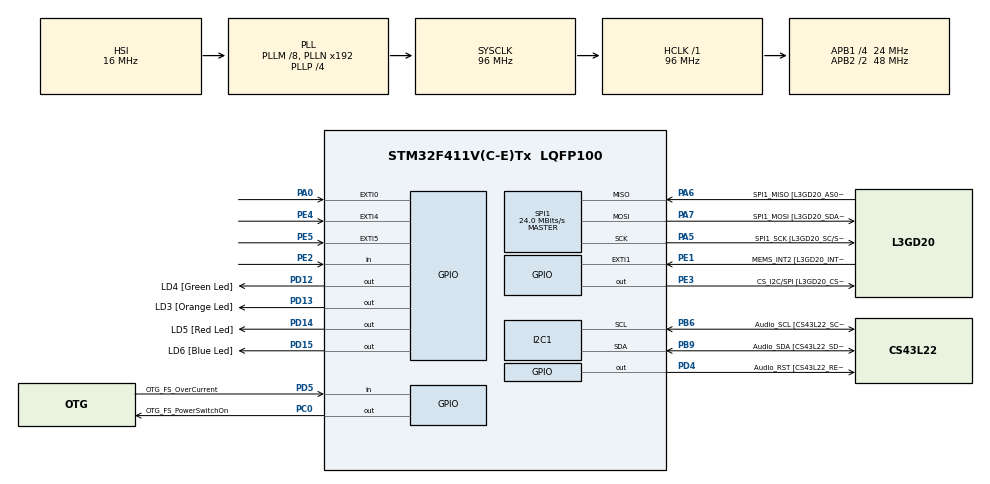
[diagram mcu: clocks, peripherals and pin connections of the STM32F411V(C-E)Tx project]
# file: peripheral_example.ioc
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Mcu.Family=STM32F4
Mcu.Name=STM32F411V(C-E)Tx
Mcu.Package=LQFP100
NVIC.PriorityGroup=NVIC_PRIORITYGROUP_0
PA0-WKUP.GPIO_ModeDefaultEXTI=GPIO_MODE_EVT_RISING
PA0-WKUP.Signal=GPXTI0
PA10.GPIO_Label=OTG_FS_ID
PA10.Signal=USB_OTG_FS_ID
PA11.GPIO_Label=OTG_FS_DM
PA11.Signal=USB_OTG_FS_DM
PA12.GPIO_Label=OTG_FS_DP
PA12.Signal=USB_OTG_FS_DP
PA13.GPIO_Label=SWDIO
PA13.Signal=SYS_JTMS-SWDIO
PA14.GPIO_Label=SWCLK
PA14.Signal=SYS_JTCK-SWCLK
PA4.GPIO_Label=I2S3_WS [CS43L22_LRCK]
PA4.GPIO_Mode=GPIO_MODE_AF_PP
PA4.GPIO_PuPd=GPIO_NOPULL
PA4.GPIO_Speed=GPIO_SPEED_FREQ_LOW
PA4.Signal=I2S3_WS
PA5.GPIO_Label=SPI1_SCK [L3GD20_SC/SPC]
PA5.Mode=Full_Duplex_Master
PA5.Signal=SPI1_SCK
PA6.GPIO_Label=SPI1_MISO [L3GD20_AS0/SDO]
PA6.Mode=Full_Duplex_Master
PA6.Signal=SPI1_MISO
PA7.GPIO_Label=SPI1_MOSI [L3GD20_SDA/SDI/SDO]
PA7.Mode=Full_Duplex_Master
PA7.Signal=SPI1_MOSI
PA9.GPIO_Label=VBUS_FS
PA9.Signal=USB_OTG_FS_VBUS
PB10.GPIO_Label=CLK_IN [MP45DT02_CLK]
PB10.Signal=I2S2_CK
PB12.Signal=I2S2_WS
PB3.GPIO_Label=SWO
PB3.Signal=SYS_JTDO-SWO
PB6.GPIO_Label=Audio_SCL [CS43L22_SCL]
PB6.GPIO_Mode=GPIO_MODE_AF_OD
PB6.GPIO_PuPd=GPIO_NOPULL
PB6.GPIO_Speed=GPIO_SPEED_FREQ_LOW
PB6.Mode=I2C
PB6.Signal=I2C1_SCL
PB9.GPIO_Label=Audio_SDA [CS43L22_SDA]
PB9.GPIO_Mode=GPIO_MODE_AF_OD
PB9.GPIO_PuPd=GPIO_NOPULL
PB9.GPIO_Speed=GPIO_SPEED_FREQ_LOW
PB9.Mode=I2C
PB9.Signal=I2C1_SDA
PC0.GPIO_Label=OTG_FS_PowerSwitchOn
PC0.PinState=GPIO_PIN_SET
PC0.Signal=GPIO_Output
PC10.GPIO_Label=I2S3_SCK [CS43L22_SCLK]
PC10.GPIO_Mode=GPIO_MODE_AF_PP
PC10.GPIO_PuPd=GPIO_NOPULL
PC10.GPIO_Speed=GPIO_SPEED_FREQ_LOW
PC10.Signal=I2S3_CK
PC12.GPIO_Label=I2S3_SD [CS43L22_SDIN]
PC12.GPIO_Mode=GPIO_MODE_AF_PP
PC12.GPIO_PuPd=GPIO_NOPULL
PC12.GPIO_Speed=GPIO_SPEED_FREQ_LOW
PC12.Signal=I2S3_SD
PC14-OSC32_IN.GPIO_Label=PC14-OSC32_IN
PC14-OSC32_IN.Signal=RCC_OSC32_IN
PC15-OSC32_OUT.GPIO_Label=PC15-OSC32_OUT
PC15-OSC32_OUT.Signal=RCC_OSC32_OUT
PC3.GPIO_Label=PDM_OUT [MP45DT02_DOUT]
PC3.Signal=I2S2_SD
PC7.GPIO_Label=I2S3_MCK [CS43L22_MCLK]
PC7.GPIO_Mode=GPIO_MODE_AF_PP
PC7.GPIO_PuPd=GPIO_NOPULL
PC7.GPIO_Speed=GPIO_SPEED_FREQ_LOW
PC7.Signal=I2S3_MCK
PD12.GPIO_Label=LD4 [Green Led]
PD12.GPIO_PuPd=GPIO_NOPULL
PD12.GPIO_Speed=GPIO_SPEED_FREQ_LOW
PD12.Signal=GPIO_Output
PD13.GPIO_Label=LD3 [Orange Led]
PD13.GPIO_PuPd=GPIO_NOPULL
PD13.GPIO_Speed=GPIO_SPEED_FREQ_LOW
PD13.Signal=GPIO_Output
PD14.GPIO_Label=LD5 [Red Led]
PD14.GPIO_PuPd=GPIO_NOPULL
PD14.GPIO_Speed=GPIO_SPEED_FREQ_LOW
PD14.Signal=GPIO_Output
PD15.GPIO_Label=LD6 [Blue Led]
PD15.GPIO_PuPd=GPIO_NOPULL
PD15.GPIO_Speed=GPIO_SPEED_FREQ_LOW
PD15.Signal=GPIO_Output
PD4.GPIO_Label=Audio_RST [CS43L22_RESET]
PD4.Signal=GPIO_Output
PD5.GPIO_Label=OTG_FS_OverCurrent
PD5.Signal=GPIO_Input
PE1.GPIO_Label=MEMS_INT2 [L3GD20_INT2]
PE1.GPIO_ModeDefaultEXTI=GPIO_MODE_EVT_RISING
PE1.Signal=GPXTI1
PE2.Signal=GPIO_Input
PE3.GPIO_Label=CS_I2C/SPI [L3GD20_CS_I2C/SPI]
PE3.Signal=GPIO_Output
PE4.GPIO_ModeDefaultEXTI=GPIO_MODE_EVT_RISING
PE4.Signal=GPXTI4
PE5.GPIO_ModeDefaultEXTI=GPIO_MODE_EVT_RISING
PE5.Signal=GPXTI5
PH0\ -\ OSC_IN.GPIO_Label=PH0-OSC_IN
PH0\ -\ OSC_IN.Signal=RCC_OSC_IN
PH1\ -\ OSC_OUT.GPIO_Label=PH1-OSC_OUT
PH1\ -\ OSC_OUT.Signal=RCC_OSC_OUT
ProjectManager.HeapSize=0x200
ProjectManager.StackSize=0x400
ProjectManager.TargetToolchain=STM32CubeIDE
RCC.48MHZClocksFreq_Value=48000000
RCC.AHBFreq_Value=96000000
RCC.APB1CLKDivider=RCC_HCLK_DIV4
RCC.APB1Freq_Value=24000000
RCC.APB1TimFreq_Value=48000000
RCC.APB2CLKDivider=RCC_HCLK_DIV2
RCC.APB2Freq_Value=48000000
RCC.APB2TimFreq_Value=96000000
RCC.CortexFreq_Value=96000000
RCC.HCLKFreq_Value=96000000
RCC.HSE_VALUE=8000000
RCC.HSI_VALUE=16000000
RCC.LSE_VALUE=32768
RCC.PLLI2SM=5
RCC.PLLI2SN=200
RCC.PLLM=8
RCC.PLLP=RCC_PLLP_DIV4
RCC.PLLQ=8
RCC.SYSCLKFreq_VALUE=96000000
RCC.SYSCLKSource=RCC_SYSCLKSOURCE_PLLCLK
RCC.VCOOutputFreq_Value=384000000
SPI1.CalculateBaudRate=24.0 MBits/s
SPI1.Direction=SPI_DIRECTION_2LINES
SPI1.Mode=SPI_MODE_MASTER
SPI1.VirtualType=VM_MASTER
board=STM32F411E-DISCO

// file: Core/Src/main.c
/* USER CODE BEGIN Header */
/**
  ******************************************************************************
  * @file           : main.c
  * @brief          : Main program body
  ******************************************************************************
  * @attention
  *
  * Copyright (c) 2022 STMicroelectronics.
  * All rights reserved.
  *
  * This software is licensed under terms that can be found in the LICENSE file
  * in the root directory of this software component.
  * If no LICENSE file comes with this software, it is provided AS-IS.
  *
  ******************************************************************************
  */
/* USER CODE END Header */
#include "main.h"

I2C_HandleTypeDef hi2c1;

SPI_HandleTypeDef hspi1;

void SystemClock_Config(void);
static void MX_GPIO_Init(void);
static void MX_I2C1_Init(void);
static void MX_SPI1_Init(void);

/* USER CODE BEGIN 0 */
void SPI1WriteByte(uint8_t reg, uint8_t data);
uint8_t SPI1ReadByte(uint8_t reg);

void I2C1WriteByte(uint16_t address, uint8_t reg, uint8_t data);
uint8_t I2C1ReadByte(uint16_t address, uint8_t reg);

void CS43L22_Init();
/* USER CODE END 0 */

int main(void)
{

  /* MCU Configuration--------------------------------------------------------*/

  /* Reset of all peripherals, Initializes the Flash interface and the Systick. */
  HAL_Init();

  /* Configure the system clock */
  SystemClock_Config();

  /* Initialize all configured peripherals */
  MX_GPIO_Init();
  MX_I2C1_Init();
  MX_SPI1_Init();
  /* USER CODE BEGIN 2 */
  SPI1WriteByte(0x20, 0x0F);
  uint8_t l3gd20_whoAmI = SPI1ReadByte(0x8F);
  if (l3gd20_whoAmI == 0xD3)
  {
	  HAL_GPIO_WritePin(GPIOD, LD3_Pin, GPIO_PIN_SET);
  }

  uint8_t lsm303dlch_id = I2C1ReadByte(0x32, 0x0F);
  if (lsm303dlch_id == 0x33)
  {
	  HAL_GPIO_WritePin(GPIOD, LD4_Pin, GPIO_PIN_SET);
  }

  CS43L22_Init();
  uint8_t cs43l22_id = I2C1ReadByte(0x94, 0x01);
  if ((cs43l22_id & 0xF8) == 0xE0)
  {
	  HAL_GPIO_WritePin(GPIOD, LD6_Pin, GPIO_PIN_SET);
  }

  /* USER CODE END 2 */

  /* Infinite loop */
  while (1)
  {

  }
}

void SystemClock_Config(void)
{
  RCC_OscInitTypeDef RCC_OscInitStruct = {0};
  RCC_ClkInitTypeDef RCC_ClkInitStruct = {0};

  /** Configure the main internal regulator output voltage
  */
  __HAL_RCC_PWR_CLK_ENABLE();
  __HAL_PWR_VOLTAGESCALING_CONFIG(PWR_REGULATOR_VOLTAGE_SCALE1);
  /** Initializes the RCC Oscillators according to the specified parameters
  * in the RCC_OscInitTypeDef structure.
  */
  RCC_OscInitStruct.OscillatorType = RCC_OSCILLATORTYPE_HSI;
  RCC_OscInitStruct.HSIState = RCC_HSI_ON;
  RCC_OscInitStruct.HSICalibrationValue = RCC_HSICALIBRATION_DEFAULT;
  RCC_OscInitStruct.PLL.PLLState = RCC_PLL_ON;
  RCC_OscInitStruct.PLL.PLLSource = RCC_PLLSOURCE_HSI;
  RCC_OscInitStruct.PLL.PLLM = 8;
  RCC_OscInitStruct.PLL.PLLN = 192;
  RCC_OscInitStruct.PLL.PLLP = RCC_PLLP_DIV4;
  RCC_OscInitStruct.PLL.PLLQ = 8;
  if (HAL_RCC_OscConfig(&RCC_OscInitStruct) != HAL_OK)
  {
    Error_Handler();
  }
  /** Initializes the CPU, AHB and APB buses clocks
  */
  RCC_ClkInitStruct.ClockType = RCC_CLOCKTYPE_HCLK|RCC_CLOCKTYPE_SYSCLK
                              |RCC_CLOCKTYPE_PCLK1|RCC_CLOCKTYPE_PCLK2;
  RCC_ClkInitStruct.SYSCLKSource = RCC_SYSCLKSOURCE_PLLCLK;
  RCC_ClkInitStruct.AHBCLKDivider = RCC_SYSCLK_DIV1;
  RCC_ClkInitStruct.APB1CLKDivider = RCC_HCLK_DIV4;
  RCC_ClkInitStruct.APB2CLKDivider = RCC_HCLK_DIV2;

  if (HAL_RCC_ClockConfig(&RCC_ClkInitStruct, FLASH_LATENCY_3) != HAL_OK)
  {
    Error_Handler();
  }
}

static void MX_I2C1_Init(void)
{

  hi2c1.Instance = I2C1;
  hi2c1.Init.ClockSpeed = 100000;
  hi2c1.Init.DutyCycle = I2C_DUTYCYCLE_2;
  hi2c1.Init.OwnAddress1 = 0;
  hi2c1.Init.AddressingMode = I2C_ADDRESSINGMODE_7BIT;
  hi2c1.Init.DualAddressMode = I2C_DUALADDRESS_DISABLE;
  hi2c1.Init.OwnAddress2 = 0;
  hi2c1.Init.GeneralCallMode = I2C_GENERALCALL_DISABLE;
  hi2c1.Init.NoStretchMode = I2C_NOSTRETCH_DISABLE;
  if (HAL_I2C_Init(&hi2c1) != HAL_OK)
  {
    Error_Handler();
  }

}

static void MX_SPI1_Init(void)
{

  /* SPI1 parameter configuration*/
  hspi1.Instance = SPI1;
  hspi1.Init.Mode = SPI_MODE_MASTER;
  hspi1.Init.Direction = SPI_DIRECTION_2LINES;
  hspi1.Init.DataSize = SPI_DATASIZE_8BIT;
  hspi1.Init.CLKPolarity = SPI_POLARITY_LOW;
  hspi1.Init.CLKPhase = SPI_PHASE_1EDGE;
  hspi1.Init.NSS = SPI_NSS_SOFT;
  hspi1.Init.BaudRatePrescaler = SPI_BAUDRATEPRESCALER_2;
  hspi1.Init.FirstBit = SPI_FIRSTBIT_MSB;
  hspi1.Init.TIMode = SPI_TIMODE_DISABLE;
  hspi1.Init.CRCCalculation = SPI_CRCCALCULATION_DISABLE;
  hspi1.Init.CRCPolynomial = 10;
  if (HAL_SPI_Init(&hspi1) != HAL_OK)
  {
    Error_Handler();
  }

}

static void MX_GPIO_Init(void)
{
  GPIO_InitTypeDef GPIO_InitStruct = {0};

  /* GPIO Ports Clock Enable */
  __HAL_RCC_GPIOE_CLK_ENABLE();
  __HAL_RCC_GPIOC_CLK_ENABLE();
  __HAL_RCC_GPIOH_CLK_ENABLE();
  __HAL_RCC_GPIOA_CLK_ENABLE();
  __HAL_RCC_GPIOB_CLK_ENABLE();
  __HAL_RCC_GPIOD_CLK_ENABLE();

  /*Configure GPIO pin Output Level */
  HAL_GPIO_WritePin(CS_I2C_SPI_GPIO_Port, CS_I2C_SPI_Pin, GPIO_PIN_RESET);

  /*Configure GPIO pin Output Level */
  HAL_GPIO_WritePin(OTG_FS_PowerSwitchOn_GPIO_Port, OTG_FS_PowerSwitchOn_Pin, GPIO_PIN_SET);

  /*Configure GPIO pin Output Level */
  HAL_GPIO_WritePin(GPIOD, LD4_Pin|LD3_Pin|LD5_Pin|LD6_Pin
                          |Audio_RST_Pin, GPIO_PIN_RESET);

  /*Configure GPIO pin : PE2 */
  GPIO_InitStruct.Pin = GPIO_PIN_2;
  GPIO_InitStruct.Mode = GPIO_MODE_INPUT;
  GPIO_InitStruct.Pull = GPIO_NOPULL;
  HAL_GPIO_Init(GPIOE, &GPIO_InitStruct);

  /*Configure GPIO pin : CS_I2C_SPI_Pin */
  GPIO_InitStruct.Pin = CS_I2C_SPI_Pin;
  GPIO_InitStruct.Mode = GPIO_MODE_OUTPUT_PP;
  GPIO_InitStruct.Pull = GPIO_NOPULL;
  GPIO_InitStruct.Speed = GPIO_SPEED_FREQ_LOW;
  HAL_GPIO_Init(CS_I2C_SPI_GPIO_Port, &GPIO_InitStruct);

  /*Configure GPIO pins : PE4 PE5 MEMS_INT2_Pin */
  GPIO_InitStruct.Pin = GPIO_PIN_4|GPIO_PIN_5|MEMS_INT2_Pin;
  GPIO_InitStruct.Mode = GPIO_MODE_EVT_RISING;
  GPIO_InitStruct.Pull = GPIO_NOPULL;
  HAL_GPIO_Init(GPIOE, &GPIO_InitStruct);

  /*Configure GPIO pin : OTG_FS_PowerSwitchOn_Pin */
  GPIO_InitStruct.Pin = OTG_FS_PowerSwitchOn_Pin;
  GPIO_InitStruct.Mode = GPIO_MODE_OUTPUT_PP;
  GPIO_InitStruct.Pull = GPIO_NOPULL;
  GPIO_InitStruct.Speed = GPIO_SPEED_FREQ_LOW;
  HAL_GPIO_Init(OTG_FS_PowerSwitchOn_GPIO_Port, &GPIO_InitStruct);

  /*Configure GPIO pin : PDM_OUT_Pin */
  GPIO_InitStruct.Pin = PDM_OUT_Pin;
  GPIO_InitStruct.Mode = GPIO_MODE_AF_PP;
  GPIO_InitStruct.Pull = GPIO_NOPULL;
  GPIO_InitStruct.Speed = GPIO_SPEED_FREQ_LOW;
  GPIO_InitStruct.Alternate = GPIO_AF5_SPI2;
  HAL_GPIO_Init(PDM_OUT_GPIO_Port, &GPIO_InitStruct);

  /*Configure GPIO pin : PA0 */
  GPIO_InitStruct.Pin = GPIO_PIN_0;
  GPIO_InitStruct.Mode = GPIO_MODE_EVT_RISING;
  GPIO_InitStruct.Pull = GPIO_NOPULL;
  HAL_GPIO_Init(GPIOA, &GPIO_InitStruct);

  /*Configure GPIO pin : I2S3_WS_Pin */
  GPIO_InitStruct.Pin = I2S3_WS_Pin;
  GPIO_InitStruct.Mode = GPIO_MODE_AF_PP;
  GPIO_InitStruct.Pull = GPIO_NOPULL;
  GPIO_InitStruct.Speed = GPIO_SPEED_FREQ_LOW;
  GPIO_InitStruct.Alternate = GPIO_AF6_SPI3;
  HAL_GPIO_Init(I2S3_WS_GPIO_Port, &GPIO_InitStruct);

  /*Configure GPIO pins : CLK_IN_Pin PB12 */
  GPIO_InitStruct.Pin = CLK_IN_Pin|GPIO_PIN_12;
  GPIO_InitStruct.Mode = GPIO_MODE_AF_PP;
  GPIO_InitStruct.Pull = GPIO_NOPULL;
  GPIO_InitStruct.Speed = GPIO_SPEED_FREQ_LOW;
  GPIO_InitStruct.Alternate = GPIO_AF5_SPI2;
  HAL_GPIO_Init(GPIOB, &GPIO_InitStruct);

  /*Configure GPIO pins : LD4_Pin LD3_Pin LD5_Pin LD6_Pin
                           Audio_RST_Pin */
  GPIO_InitStruct.Pin = LD4_Pin|LD3_Pin|LD5_Pin|LD6_Pin
                          |Audio_RST_Pin;
  GPIO_InitStruct.Mode = GPIO_MODE_OUTPUT_PP;
  GPIO_InitStruct.Pull = GPIO_NOPULL;
  GPIO_InitStruct.Speed = GPIO_SPEED_FREQ_LOW;
  HAL_GPIO_Init(GPIOD, &GPIO_InitStruct);

  /*Configure GPIO pins : I2S3_MCK_Pin I2S3_SCK_Pin I2S3_SD_Pin */
  GPIO_InitStruct.Pin = I2S3_MCK_Pin|I2S3_SCK_Pin|I2S3_SD_Pin;
  GPIO_InitStruct.Mode = GPIO_MODE_AF_PP;
  GPIO_InitStruct.Pull = GPIO_NOPULL;
  GPIO_InitStruct.Speed = GPIO_SPEED_FREQ_LOW;
  GPIO_InitStruct.Alternate = GPIO_AF6_SPI3;
  HAL_GPIO_Init(GPIOC, &GPIO_InitStruct);

  /*Configure GPIO pin : VBUS_FS_Pin */
  GPIO_InitStruct.Pin = VBUS_FS_Pin;
  GPIO_InitStruct.Mode = GPIO_MODE_INPUT;
  GPIO_InitStruct.Pull = GPIO_NOPULL;
  HAL_GPIO_Init(VBUS_FS_GPIO_Port, &GPIO_InitStruct);

  /*Configure GPIO pins : OTG_FS_ID_Pin OTG_FS_DM_Pin OTG_FS_DP_Pin */
  GPIO_InitStruct.Pin = OTG_FS_ID_Pin|OTG_FS_DM_Pin|OTG_FS_DP_Pin;
  GPIO_InitStruct.Mode = GPIO_MODE_AF_PP;
  GPIO_InitStruct.Pull = GPIO_NOPULL;
  GPIO_InitStruct.Speed = GPIO_SPEED_FREQ_VERY_HIGH;
  GPIO_InitStruct.Alternate = GPIO_AF10_OTG_FS;
  HAL_GPIO_Init(GPIOA, &GPIO_InitStruct);

  /*Configure GPIO pin : OTG_FS_OverCurrent_Pin */
  GPIO_InitStruct.Pin = OTG_FS_OverCurrent_Pin;
  GPIO_InitStruct.Mode = GPIO_MODE_INPUT;
  GPIO_InitStruct.Pull = GPIO_NOPULL;
  HAL_GPIO_Init(OTG_FS_OverCurrent_GPIO_Port, &GPIO_InitStruct);

}

/* USER CODE BEGIN 4 */

static uint8_t SPI1SendReceiveByte(uint8_t byte)
{
	HAL_SPI_Transmit(&hspi1, &byte, 1, HAL_MAX_DELAY);
	uint8_t respByte;
	HAL_SPI_Receive(&hspi1, &respByte, 1, HAL_MAX_DELAY);
	return respByte;
}

void SPI1WriteByte(uint8_t reg, uint8_t data)
{
	HAL_GPIO_WritePin(CS_I2C_SPI_GPIO_Port, CS_I2C_SPI_Pin, GPIO_PIN_RESET);
	SPI1SendReceiveByte(reg);
	SPI1SendReceiveByte(data);
	HAL_GPIO_WritePin(CS_I2C_SPI_GPIO_Port, CS_I2C_SPI_Pin, GPIO_PIN_SET);

}

uint8_t SPI1ReadByte(uint8_t reg)
{
	uint8_t response = 0xFF;
	HAL_GPIO_WritePin(CS_I2C_SPI_GPIO_Port, CS_I2C_SPI_Pin, GPIO_PIN_RESET);
	SPI1SendReceiveByte(reg);
	response = SPI1SendReceiveByte(0x00);
	HAL_GPIO_WritePin(CS_I2C_SPI_GPIO_Port, CS_I2C_SPI_Pin, GPIO_PIN_SET);
	return response;
}

void I2C1WriteByte(uint16_t address, uint8_t reg, uint8_t data)
{
	HAL_I2C_Mem_Write(&hi2c1, address, reg, I2C_MEMADD_SIZE_8BIT, &data, 1, HAL_MAX_DELAY);
}

uint8_t I2C1ReadByte(uint16_t address, uint8_t reg)
{
	uint8_t response = 0;
	HAL_I2C_Mem_Read(&hi2c1, address, reg, I2C_MEMADD_SIZE_8BIT, &response, 1, HAL_MAX_DELAY);
	return response;
}

void CS43L22_Init()
{
	HAL_GPIO_WritePin(Audio_RST_GPIO_Port, Audio_RST_Pin, GPIO_PIN_SET);
	HAL_Delay(5);
}
/* USER CODE END 4 */

void Error_Handler(void)
{
  __disable_irq();
  while (1)
  {
  }
}
